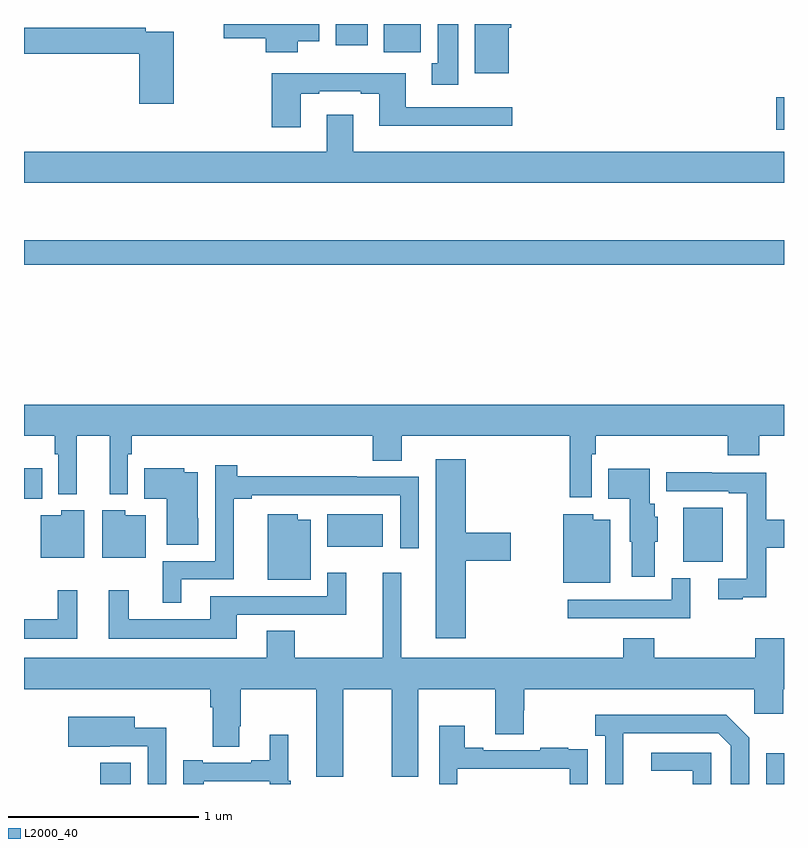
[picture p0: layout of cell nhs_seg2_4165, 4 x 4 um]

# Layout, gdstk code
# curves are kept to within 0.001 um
import gdstk
lib = gdstk.Library(unit=1e-6, precision=1e-09)
def R(c, l, rs):  # rectangles x0, y0, x1, y1
    for r in rs: c.add(gdstk.rectangle(r[:2], r[2:], *l))
def P(c, l, *ps):  # polygons
    for p in ps: c.add(gdstk.Polygon(p, *l))
L2000_40 = (2000, 40)

nhs_seg2_4165 = lib.new_cell('nhs_seg2_4165')
R(nhs_seg2_4165, L2000_40, [(335.402,649.8,335.563,649.912), (338.906,649.8,339,649.963), (338.471,650.969,338.677,651.253), (336.596,651.05,336.889,651.22), (335,651.302,335.096,651.463), (335,652.534,339,652.663), (338.958,653.243,339,653.414), (336.893,653.652,337.089,653.8), (336.641,653.688,336.808,653.8)])
P(nhs_seg2_4165, L2000_40, [(337.552,653.78),(337.565,653.78),(337.565,653.8),(337.373,653.8),(337.373,653.54),(337.552,653.54)],
  [(336.442,653.708),(336.553,653.708),(336.553,653.8),(336.05,653.8),(336.05,653.726),(336.272,653.726),(336.272,653.651),(336.442,653.651)],
  [(337.285,653.8),(337.178,653.8),(337.178,653.593),(337.145,653.593),(337.145,653.481),(337.285,653.481)],
  [(335.789,653.76),(335.642,653.76),(335.642,653.78),(335,653.78),(335,653.644),(335.606,653.644),(335.606,653.379),(335.789,653.379)],
  [(336.457,653.433),(336.553,653.433),(336.553,653.445),(336.773,653.445),(336.773,653.433),(336.869,653.433),(336.869,653.264),(337.57,653.264),(337.57,653.361),(337.009,653.361),(337.009,653.542),(336.305,653.542),(336.305,653.256),(336.457,653.256)],
  [(339,653.128),(336.733,653.128),(336.733,653.323),(336.593,653.323),(336.593,653.128),(335,653.128),(335,652.964),(339,652.964)],
  [(337.989,651.536),(338.009,651.536),(338.009,651.632),(338.705,651.632),(338.705,651.53),(338.87,651.53),(338.87,651.632),(339,651.632),(339,651.796),(335,651.796),(335,651.632),(335.161,651.632),(335.161,651.536),(335.181,651.536),(335.181,651.326),(335.278,651.326),(335.278,651.632),(335.45,651.632),(335.45,651.326),(335.547,651.326),(335.547,651.536),(335.567,651.536),(335.567,651.632),(336.836,651.632),(336.836,651.502),(336.988,651.502),(336.988,651.632),(337.873,651.632),(337.873,651.309),(337.989,651.309)],
  [(337.325,650.975),(337.561,650.975),(337.561,651.122),(337.325,651.122),(337.325,651.508),(337.166,651.508),(337.166,650.568),(337.325,650.568)],
  [(335.827,650.877),(336.104,650.877),(336.104,651.301),(336.199,651.301),(336.199,651.321),(336.981,651.321),(336.981,651.042),(337.077,651.042),(337.077,651.417),(336.752,651.417),(336.752,651.419),(336.122,651.419),(336.122,651.478),(336.006,651.478),(336.006,650.973),(335.729,650.973),(335.729,650.753),(335.827,650.753)],
  [(335.917,651.198),(335.914,651.198),(335.914,651.442),(335.844,651.442),(335.844,651.463),(335.632,651.463),(335.632,651.302),(335.75,651.302),(335.75,651.058),(335.917,651.058)],
  [(338.32,651.075),(338.335,651.075),(338.335,651.207),(338.32,651.207),(338.32,651.276),(338.293,651.276),(338.293,651.46),(338.074,651.46),(338.074,651.302),(338.189,651.302),(338.189,651.075),(338.198,651.075),(338.198,650.892),(338.32,650.892)],
  [(338.783,650.783),(338.906,650.783),(338.906,651.043),(339,651.043),(339,651.19),(338.906,651.19),(338.906,651.438),(338.621,651.438),(338.621,651.44),(338.379,651.44),(338.379,651.342),(338.708,651.342),(338.708,651.33),(338.805,651.33),(338.805,650.88),(338.655,650.88),(338.655,650.772),(338.783,650.772)],
  [(335.317,651.241),(335.196,651.241),(335.196,651.214),(335.087,651.214),(335.087,650.99),(335.317,650.99)],
  [(335.641,651.214),(335.532,651.214),(335.532,651.241),(335.411,651.241),(335.411,650.99),(335.641,650.99)],
  [(336.508,651.19),(336.442,651.19),(336.442,651.22),(336.284,651.22),(336.284,650.876),(336.508,650.876)],
  [(338.086,651.19),(337.996,651.19),(337.996,651.22),(337.838,651.22),(337.838,650.858),(338.086,650.858)],
  [(336.121,650.691),(336.695,650.691),(336.695,650.911),(336.597,650.911),(336.597,650.787),(335.981,650.787),(335.981,650.668),(335.551,650.668),(335.551,650.821),(335.447,650.821),(335.447,650.564),(336.121,650.564)],
  [(336.679,650.3),(336.935,650.3),(336.935,649.839),(337.075,649.839),(337.075,650.3),(337.481,650.3),(337.481,650.062),(337.629,650.062),(337.629,650.187),(337.634,650.187),(337.634,650.3),(338.844,650.3),(338.844,650.169),(338.996,650.169),(338.996,650.3),(339,650.3),(339,650.566),(338.849,650.566),(338.849,650.464),(338.318,650.464),(338.318,650.566),(338.153,650.566),(338.153,650.464),(336.986,650.464),(336.986,650.911),(336.887,650.911),(336.887,650.464),(336.426,650.464),(336.426,650.606),(336.278,650.606),(336.278,650.464),(335,650.464),(335,650.3),(335.981,650.3),(335.981,650.204),(335.993,650.204),(335.993,649.996),(336.133,649.996),(336.133,650.104),(336.141,650.104),(336.141,650.3),(336.539,650.3),(336.539,649.839),(336.679,649.839)],
  [(338.506,650.884),(338.409,650.884),(338.409,650.769),(337.863,650.769),(337.863,650.673),(338.506,650.673)],
  [(335.281,650.821),(335.177,650.821),(335.177,650.668),(335,650.668),(335,650.564),(335.281,650.564)],
  [(338.154,649.867),(338.155,650.067),(338.655,650.067),(338.721,650.001),(338.721,649.8),(338.817,649.8),(338.817,650.043),(338.696,650.164),(338.007,650.164),(338.007,650.054),(338.058,650.054),(338.058,649.8),(338.154,649.8)],
  [(335.748,650.096),(335.584,650.096),(335.584,650.155),(335.232,650.155),(335.232,649.997),(335.45,649.997),(335.45,649.998),(335.652,649.998),(335.652,649.8),(335.748,649.8)],
  [(337.281,649.881),(337.872,649.881),(337.872,649.8),(337.968,649.8),(337.968,649.874),(337.967,649.874),(337.967,649.983),(337.865,649.983),(337.865,649.99),(337.717,649.99),(337.717,649.977),(337.417,649.977),(337.417,649.99),(337.321,649.99),(337.321,650.107),(337.185,650.107),(337.185,649.8),(337.281,649.8)],
  [(335.947,649.815),(336.294,649.815),(336.294,649.8),(336.403,649.8),(336.403,649.818),(336.391,649.818),(336.391,650.059),(336.293,650.059),(336.293,649.924),(336.197,649.924),(336.197,649.911),(335.941,649.911),(335.941,649.924),(335.837,649.924),(335.837,649.8),(335.947,649.8)],
  [(338.616,649.965),(338.301,649.965),(338.301,649.869),(338.52,649.869),(338.52,649.8),(338.616,649.8)])

lib.write_gds('nhs_seg2_4165.gds')
